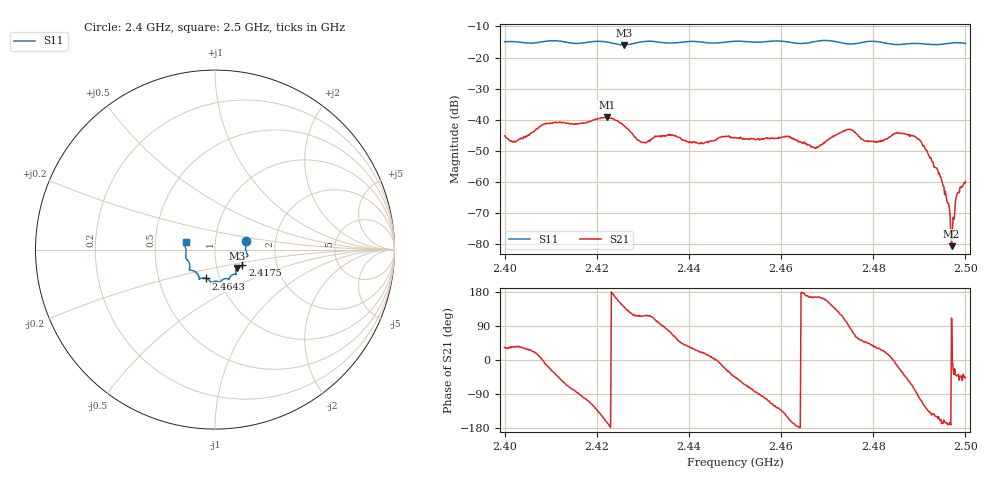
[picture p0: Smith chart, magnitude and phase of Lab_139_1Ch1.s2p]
# Hz S RI R 50
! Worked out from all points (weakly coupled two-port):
!   601 points, 2.4 GHz to 2.5 GHz, reference 50 ohm
!   highest |S21| = -39.33 dB at 2.4222 GHz (marker M1); lowest = -80.8 dB at 2.497 GHz (marker M2)
!   lowest |S11| = -16.0 dB at 2.4258 GHz (marker M3), VSWR 1.38, Z = 62.3 - j13.2 ohm
!   |S11| at or under -10 dB: start of sweep to end of sweep
!   S12 and S22 are empty: the file has one direction only
!   S11 on the Smith chart (normalised r, x): 2.4 GHz: 1.41, +0.14; 2.4175 GHz: 1.34, -0.23; 2.4643 GHz: 0.86, -0.28; 2.5 GHz: 0.72, +0.06
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2.4e9  0.1729 0.0488  0.00458 0.00298  0 0  0 0
2.402167e9  0.1755 0.0398  0.00363 0.00254  0 0  0 0
2.408833e9  0.1804 -0.0279  0.00849 -0.00167  0 0  0 0
2.416667e9  0.1531 -0.0744  -0.000613 -0.00864  0 0  0 0
2.4175e9  0.1522 -0.0839  -0.00181 -0.00864  0 0  0 0
2.422167e9  0.1503 -0.0953  -0.0104 -0.00297  0 0  0 0
2.425833e9  0.1216 -0.1031  -0.00628 0.00508  0 0  0 0
2.429833e9  0.1172 -0.1355  -0.0019 0.00386  0 0  0 0
2.433333e9  0.1128 -0.1373  -0.00097 0.00533  0 0  0 0
2.45e9  0.0288 -0.1809  0.00362 -0.00367  0 0  0 0
2.464333e9  -0.0499 -0.1607  -0.00433 0.000121  0 0  0 0
2.466667e9  -0.076 -0.1593  -0.00358 0.000904  0 0  0 0
2.4745e9  -0.1018 -0.131  -0.000447 0.00695  0 0  0 0
2.4785e9  -0.1387 -0.115  0.00305 0.00327  0 0  0 0
2.483333e9  -0.1407 -0.0899  0.005 0.00115  0 0  0 0
2.486667e9  -0.1534 -0.058  0.00456 -0.0038  0 0  0 0
2.4905e9  -0.1624 -0.0379  -0.00129 -0.00406  0 0  0 0
2.494833e9  -0.1633 0.00788  -0.00103 -0.000218  0 0  0 0
2.497e9  -0.1696 0.027  -3.2e-05 8.55e-05  0 0  0 0
2.497333e9  -0.1702 0.0289  0.000243 -0.000106  0 0  0 0
2.498333e9  -0.1702 0.0341  0.000502 -0.000439  0 0  0 0
2.5e9  -0.1639 0.0426  0.000694 -0.000732  0 0  0 0
